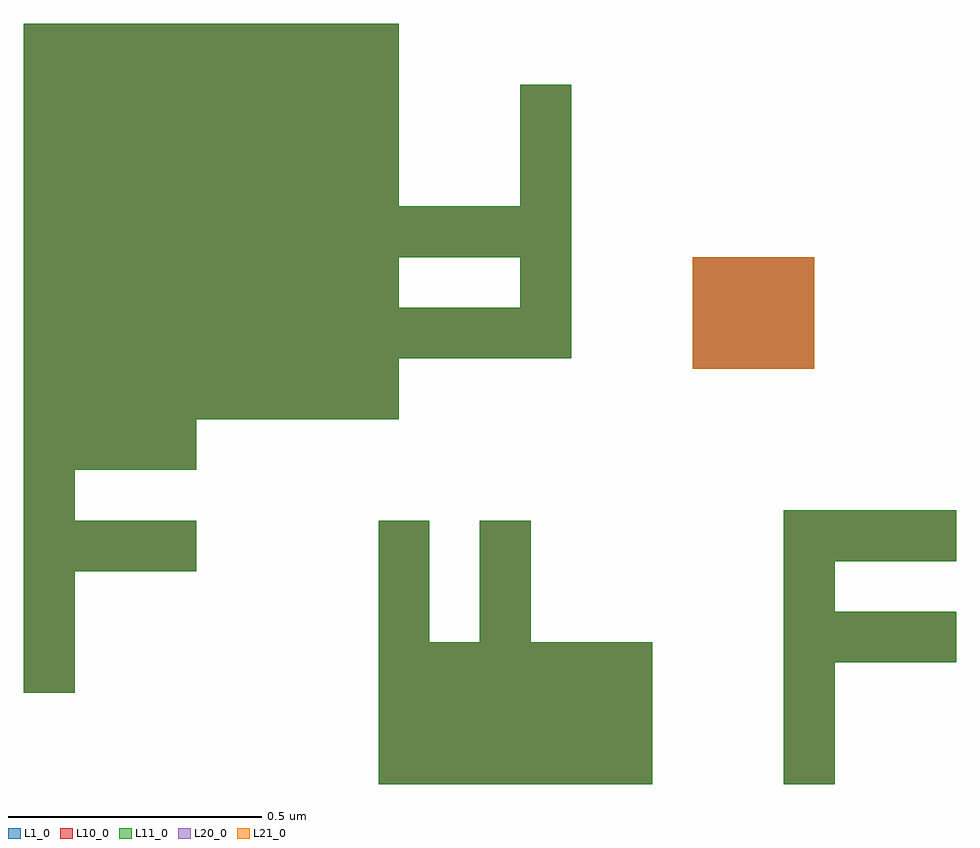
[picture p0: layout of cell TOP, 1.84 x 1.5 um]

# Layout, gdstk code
from math import pi, radians
import gdstk
lib = gdstk.Library(unit=1e-6, precision=1e-09)
def R(c, l, rs):  # rectangles x0, y0, x1, y1
    for r in rs: c.add(gdstk.rectangle(r[:2], r[2:], *l))
def P(c, l, *ps):  # polygons
    for p in ps: c.add(gdstk.Polygon(p, *l))
L1_0 = (1, 0)
L10_0 = (10, 0)
L11_0 = (11, 0)
L20_0 = (20, 0)
L21_0 = (21, 0)

c_a = lib.new_cell('A')
R(c_a, L1_0, [(0.06,0.08,0.16,0.32)])
P(c_a, L1_0, [(0.06,0.32),(0.06,0.62),(0.4,0.62),(0.4,0.52),(0.16,0.52),(0.16,0.42),(0.4,0.42),(0.4,0.32)])

c_b = lib.new_cell('B')
R(c_b, L1_0, [(0,0,0.54,0.18)])

top = lib.new_cell('TOP')
R(top, L1_0, [(-0.5,0.86,0.24,1.64), (0.82,0.96,1.06,1.18), (0.82,0.96,1.06,1.18)])
R(top, L10_0, [(0.82,0.96,1.06,1.18)])
P(top, L10_0, [(-0.5,0.32),(-0.5,1.18),(0.24,1.18),(0.24,1.08),(0.48,1.08),(0.48,1.18),(-0.5,1.18),(-0.5,1.64),(0.24,1.64),(0.24,1.28),(0.48,1.28),(0.48,1.52),(0.58,1.52),(0.58,0.98),(0.24,0.98),(0.24,0.86),(-0.16,0.86),(-0.16,0.76),(-0.4,0.76),(-0.4,0.66),(-0.16,0.66),(-0.16,0.56),(-0.4,0.56),(-0.4,0.32)],
  [(0.2,0.14),(0.2,0.66),(0.3,0.66),(0.3,0.42),(0.4,0.42),(0.4,0.66),(0.5,0.66),(0.5,0.42),(0.74,0.42),(0.74,0.14)],
  [(1,0.14),(1,0.68),(1.34,0.68),(1.34,0.58),(1.1,0.58),(1.1,0.48),(1.34,0.48),(1.34,0.38),(1.1,0.38),(1.1,0.14)])
R(top, L11_0, [(0.82,0.96,1.06,1.18)])
P(top, L11_0, [(-0.5,0.32),(-0.5,1.18),(0.24,1.18),(0.24,1.08),(0.48,1.08),(0.48,1.18),(-0.5,1.18),(-0.5,1.64),(0.24,1.64),(0.24,1.28),(0.48,1.28),(0.48,1.52),(0.58,1.52),(0.58,0.98),(0.24,0.98),(0.24,0.86),(-0.16,0.86),(-0.16,0.76),(-0.4,0.76),(-0.4,0.66),(-0.16,0.66),(-0.16,0.56),(-0.4,0.56),(-0.4,0.32)],
  [(0.2,0.14),(0.2,0.66),(0.3,0.66),(0.3,0.42),(0.4,0.42),(0.4,0.66),(0.5,0.66),(0.5,0.42),(0.74,0.42),(0.74,0.14)],
  [(1,0.14),(1,0.68),(1.34,0.68),(1.34,0.58),(1.1,0.58),(1.1,0.48),(1.34,0.48),(1.34,0.38),(1.1,0.38),(1.1,0.14)])
R(top, L20_0, [(0.82,0.96,1.06,1.18)])
R(top, L21_0, [(0.82,0.96,1.06,1.18)])
r = gdstk.Reference(c_a, (-0.56,0.24)); r.repetition = gdstk.Repetition(1, 1, v1=(0,0), v2=(0,0)); top.add(r)
r = gdstk.Reference(c_a, (0.94,0.06)); r.repetition = gdstk.Repetition(1, 1, v1=(0,0), v2=(0,0)); top.add(r)
r = gdstk.Reference(c_a, (0.82,0.26), rotation=pi/2); r.repetition = gdstk.Repetition(1, 1, v1=(0,0), v2=(0,0)); top.add(r)
r = gdstk.Reference(c_a, (0.64,1.6), rotation=pi); r.repetition = gdstk.Repetition(1, 1, v1=(0,0), v2=(0,0)); top.add(r)
top.add(gdstk.Reference(c_b, (0.2,0.14)))

lib.write_gds('TOP.gds')
